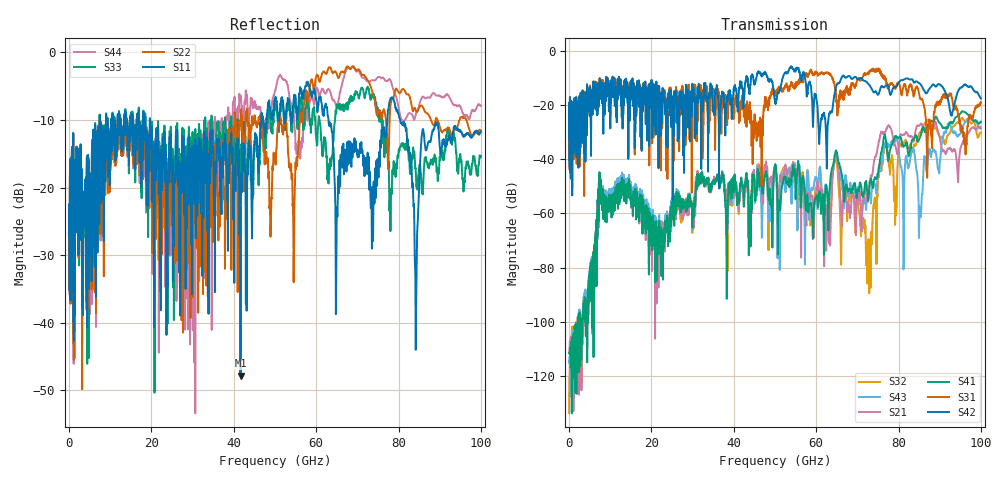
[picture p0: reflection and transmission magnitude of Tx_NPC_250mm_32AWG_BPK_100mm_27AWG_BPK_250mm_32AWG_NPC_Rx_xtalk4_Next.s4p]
! Info: Touchstone file created by Circ.  Input file=Tx_NPC_250mm_32AWG_BPK_100mm_27AWG_BPK_250mm_32AWG_NPC_Rx.circ
# Hz S RI R 50
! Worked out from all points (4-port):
!   10000 points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, 10 MHz to 100 GHz, reference 50 ohm
!   strongest paths, dB at 10 MHz, 25.01 GHz, 50.01 GHz, 75.01 GHz, 100 GHz:
!     S42: -32.0, -21.9, -18.4, -16.3, -17.6
!     S31: -31.8, -20.3, -15.9, -6.9, -19.2
!     S41: -111.6, -55.7, -42.3, -45.5, -26.2
!     S21: -111.4, -56.8, -41.8, -35.3, -28.6
!     S43: -114.7, -54.0, -42.3, -45.2, -28.6
!     S32: -133.6, -55.0, -42.5, -47.7, -30.2
!   lowest |S11| = -47.8 dB at 41.63 GHz (marker M1), VSWR 1.01, Z = 49.7 - j0.265 ohm
!   |S11| at or under -10 dB: 19.64 GHz to 46.68 GHz (27.05 GHz wide, 81.6 % of centre); 62.99 GHz to 77.29 GHz (14.3 GHz wide, 20.4 % of centre); 80.37 GHz to end of sweep (the widest 3 of 34)
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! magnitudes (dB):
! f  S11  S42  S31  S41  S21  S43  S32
! 10 MHz  -27.0  -32.0  -31.8  -111.6  -111.4  -114.7  -133.6
! 41.63 GHz  -47.8  -13.3  -18.7  -50.2  -51.7  -51.1  -51.2
! 64.71 GHz  -26.7  -14.0  -14.3  -37.3  -38.9  -38.3  -39.6
! 72.77 GHz  -15.5  -12.4  -8.3  -52.3  -52.2  -52.7  -71.1
! 76.75 GHz  -12.1  -13.2  -10.9  -31.3  -29.9  -34.4  -35.3
! 85.33 GHz  -15.2  -12.4  -18.0  -31.5  -27.0  -61.5  -29.9
! 100 GHz  -11.7  -17.6  -19.2  -26.2  -28.6  -28.6  -30.2
